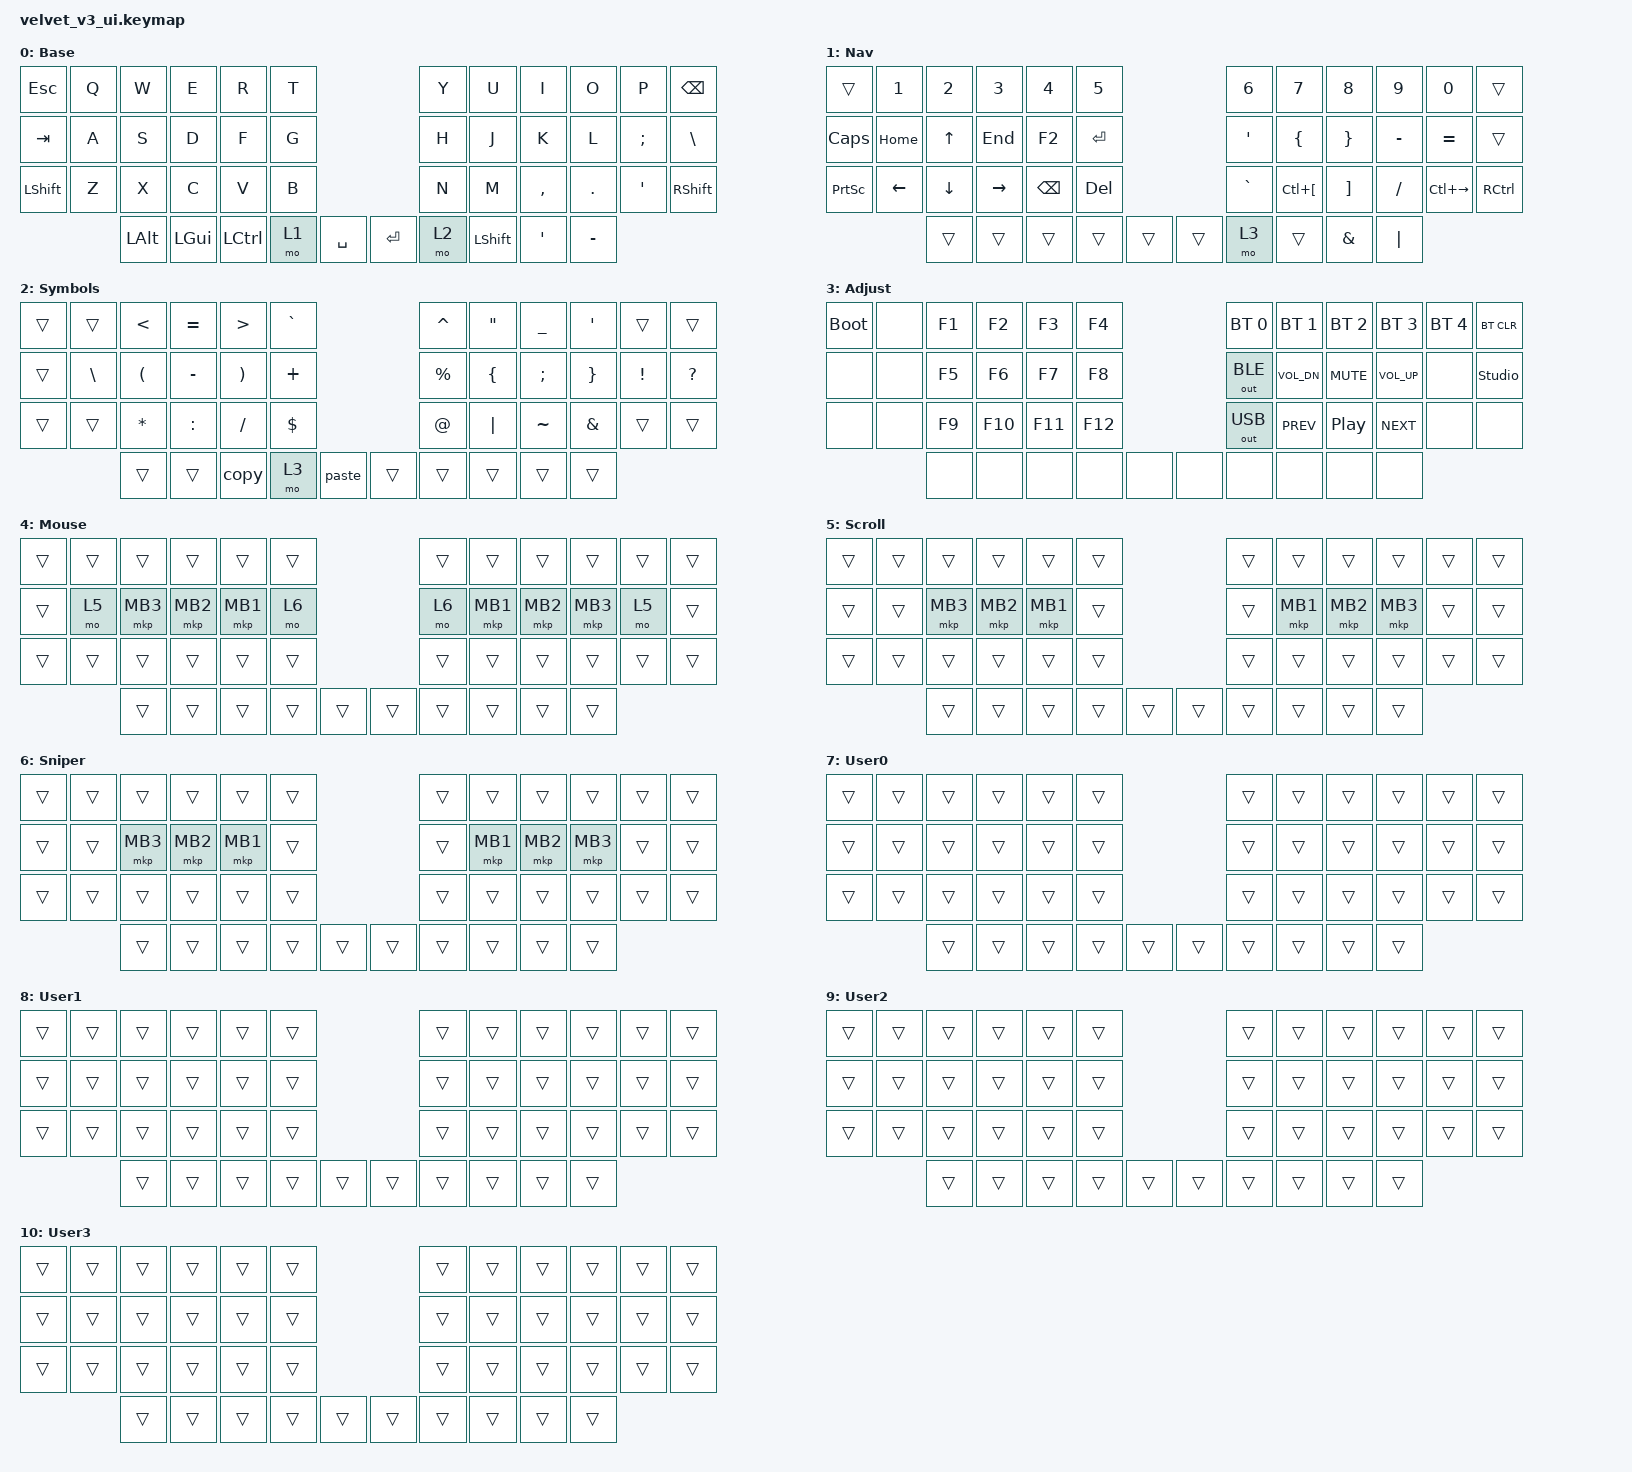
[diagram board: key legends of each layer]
#include "keys_ru.h"
#include <dt-bindings/zmk/input_transform.h>
#include <input/processors.dtsi>
#include <zephyr/dt-bindings/input/input-event-codes.h>
#include <behaviors.dtsi>
#include <dt-bindings/zmk/bt.h>
#include <dt-bindings/zmk/keys.h>
#include <dt-bindings/zmk/outputs.h>
#include <dt-bindings/zmk/pointing.h>

/ {
    behaviors {
        cap_sen: cap_sen {
            compatible = "zmk,behavior-hold-tap";
            label = "CAP_SEN";
            bindings = <&mo>, <&mkp>;

            #binding-cells = <2>;
            tapping-term-ms = <150>;
            hold-while-undecided;
        };

        mouse_layer: mouse_layer {
            compatible = "zmk,behavior-sticky-key";
            label = "MOUSE_LAYER";
            bindings = <&mo>;
            #binding-cells = <1>;
            release-after-ms = <200>;
        };

        zip_auto_mouse: zip_auto_mouse {
            compatible = "zmk,input-processor-temp-layer";
            #input-processor-cells = <2>;
            require-prior-idle-ms = <800>;
            excluded-positions = <>;
        };
    };

    macros {
        copy: copy {
            compatible = "zmk,behavior-macro";
            #binding-cells = <0>;
            bindings = <&kp LCTRL>, <&macro_press>, <&kp C>, <&macro_release>;

            label = "COPY";
        };

        paste: paste {
            compatible = "zmk,behavior-macro";
            #binding-cells = <0>;
            bindings =
                <&kp LEFT_CONTROL>,
                <&macro_press>,
                <&kp V>,
                <&macro_release>;

            label = "PASTE";
        };

        change_language: change_language {
            compatible = "zmk,behavior-macro";
            #binding-cells = <0>;
            bindings =
                <&kp LCTRL>,
                <&macro_press>,
                <&kp LEFT_SHIFT>,
                <&macro_press>,
                <&kp LEFT_ALT>,
                <&macro_tap>,
                <&macro_release>;

            label = "CHANGE_LANGUAGE";
        };
    };

    keymap {
        compatible = "zmk,keymap";

        base {
            bindings = <
&kp ESC    &kp Q  &kp W     &kp E     &kp R      &kp T                          &kp Y  &kp U           &kp I      &kp O      &kp P     &kp BSPC
&kp TAB    &kp A  &kp S     &kp D     &kp F      &kp G                          &kp H  &kp J           &kp K      &kp L      &kp SEMI  &kp BSLH
&kp LSHFT  &kp Z  &kp X     &kp C     &kp V      &kp B                          &kp N  &kp M           &kp COMMA  &kp DOT    &kp SQT   &kp RSHFT
                  &kp LALT  &kp LGUI  &kp LCTRL  &mo 1  &kp SPACE    &kp ENTER  &mo 2  &kp LEFT_SHIFT  &kp SQT    &kp MINUS
            >;

            display-name = "Base";
        };

        nav {
            bindings = <
&trans           &kp N1    &kp N2    &kp N3     &kp N4         &kp N5                     &kp N6     &kp N7                &kp N8             &kp N9     &kp N0         &trans
&kp CAPS         &kp HOME  &kp UP    &kp END    &kp F2         &kp RET                    &kp SQT    &kp LEFT_BRACE        &kp RIGHT_BRACE    &kp MINUS  &kp EQUAL      &trans
&kp PRINTSCREEN  &kp LEFT  &kp DOWN  &kp RIGHT  &kp BACKSPACE  &kp DEL                    &kp GRAVE  &kp LC(LEFT_BRACKET)  &kp RIGHT_BRACKET  &kp FSLH   &kp LC(RIGHT)  &kp RCTRL
                           &trans    &trans     &trans         &trans   &trans    &trans  &mo 3      &trans                &kp AMPERSAND      &kp PIPE
            >;

            display-name = "Nav";
        };

        sym {
            bindings = <
&trans  &trans    &kp LT    &kp EQUAL  &kp GT    &kp GRAVE                    &kp CARET  &kp DQT   &kp UNDER  &kp SQT   &trans    &trans
&trans  &kp BSLH  &kp LPAR  &kp MINUS  &kp RPAR  &kp PLUS                     &kp PRCNT  &kp LBRC  &kp SEMI   &kp RBRC  &kp EXCL  &kp QUESTION
&trans  &trans    &kp STAR  &kp COLON  &kp FSLH  &kp DLLR                     &kp AT     &kp PIPE  &kp TILDE  &kp AMPS  &trans    &trans
                  &trans    &trans     &copy     &mo 3      &paste    &trans  &trans     &trans    &trans     &trans
            >;

            display-name = "Symbols";
        };

        adj {
            bindings = <
&bootloader  &none  &kp F1  &kp F2   &kp F3   &kp F4                   &bt BT_SEL 0  &bt BT_SEL 1  &bt BT_SEL 2      &bt BT_SEL 3  &bt BT_SEL 4  &bt BT_CLR
&none        &none  &kp F5  &kp F6   &kp F7   &kp F8                   &out OUT_BLE  &kp C_VOL_DN  &kp C_MUTE        &kp C_VOL_UP  &none         &studio_unlock
&none        &none  &kp F9  &kp F10  &kp F11  &kp F12                  &out OUT_USB  &kp C_PREV    &kp C_PLAY_PAUSE  &kp C_NEXT    &none         &none
                    &none   &none    &none    &none    &none    &none  &none         &none         &none             &none
            >;

            display-name = "Adjust";
        };

        mouse {
            bindings = <
&trans  &trans  &trans    &trans    &trans    &trans                    &trans  &trans    &trans    &trans    &trans  &trans
&trans  &mo 5   &mkp MB3  &mkp MB2  &mkp MB1  &mo 6                     &mo 6   &mkp MB1  &mkp MB2  &mkp MB3  &mo 5   &trans
&trans  &trans  &trans    &trans    &trans    &trans                    &trans  &trans    &trans    &trans    &trans  &trans
                &trans    &trans    &trans    &trans  &trans    &trans  &trans  &trans    &trans    &trans
            >;

            display-name = "Mouse";
        };

        scroll {
            bindings = <
&trans  &trans  &trans    &trans    &trans    &trans                    &trans  &trans    &trans    &trans    &trans  &trans
&trans  &trans  &mkp MB3  &mkp MB2  &mkp MB1  &trans                    &trans  &mkp MB1  &mkp MB2  &mkp MB3  &trans  &trans
&trans  &trans  &trans    &trans    &trans    &trans                    &trans  &trans    &trans    &trans    &trans  &trans
                &trans    &trans    &trans    &trans  &trans    &trans  &trans  &trans    &trans    &trans
            >;

            display-name = "Scroll";
        };

        sniper {
            bindings = <
&trans  &trans  &trans    &trans    &trans    &trans                    &trans  &trans    &trans    &trans    &trans  &trans
&trans  &trans  &mkp MB3  &mkp MB2  &mkp MB1  &trans                    &trans  &mkp MB1  &mkp MB2  &mkp MB3  &trans  &trans
&trans  &trans  &trans    &trans    &trans    &trans                    &trans  &trans    &trans    &trans    &trans  &trans
                &trans    &trans    &trans    &trans  &trans    &trans  &trans  &trans    &trans    &trans
            >;

            display-name = "Sniper";
        };

        User0 {
            bindings = <
&trans  &trans  &trans  &trans  &trans  &trans                    &trans  &trans  &trans  &trans  &trans  &trans
&trans  &trans  &trans  &trans  &trans  &trans                    &trans  &trans  &trans  &trans  &trans  &trans
&trans  &trans  &trans  &trans  &trans  &trans                    &trans  &trans  &trans  &trans  &trans  &trans
                &trans  &trans  &trans  &trans  &trans    &trans  &trans  &trans  &trans  &trans
            >;

            display-name = "User0";
        };

        User1 {
            bindings = <
&trans  &trans  &trans  &trans  &trans  &trans                    &trans  &trans  &trans  &trans  &trans  &trans
&trans  &trans  &trans  &trans  &trans  &trans                    &trans  &trans  &trans  &trans  &trans  &trans
&trans  &trans  &trans  &trans  &trans  &trans                    &trans  &trans  &trans  &trans  &trans  &trans
                &trans  &trans  &trans  &trans  &trans    &trans  &trans  &trans  &trans  &trans
            >;

            display-name = "User1";
        };

        User2 {
            bindings = <
&trans  &trans  &trans  &trans  &trans  &trans                    &trans  &trans  &trans  &trans  &trans  &trans
&trans  &trans  &trans  &trans  &trans  &trans                    &trans  &trans  &trans  &trans  &trans  &trans
&trans  &trans  &trans  &trans  &trans  &trans                    &trans  &trans  &trans  &trans  &trans  &trans
                &trans  &trans  &trans  &trans  &trans    &trans  &trans  &trans  &trans  &trans
            >;

            display-name = "User2";
        };

        User3 {
            bindings = <
&trans  &trans  &trans  &trans  &trans  &trans                    &trans  &trans  &trans  &trans  &trans  &trans
&trans  &trans  &trans  &trans  &trans  &trans                    &trans  &trans  &trans  &trans  &trans  &trans
&trans  &trans  &trans  &trans  &trans  &trans                    &trans  &trans  &trans  &trans  &trans  &trans
                &trans  &trans  &trans  &trans  &trans    &trans  &trans  &trans  &trans  &trans
            >;

            display-name = "User3";
        };
    };
};

&trackball { cpi = <1000>; };

&trackball_listener {
    input-processors = <&zip_auto_mouse 4 500>, <&zip_xy_scaler 9 20>;

    scroller {
        layers = <5>;
        input-processors =
            <&zip_xy_transform INPUT_TRANSFORM_Y_INVERT>,
            <&zip_xy_scaler 1 32>,
            <&zip_xy_to_scroll_mapper>;
    };

    sniper {
        layers = <6>;
        input-processors = <&zip_xy_scaler 1 4>;
    };
};
